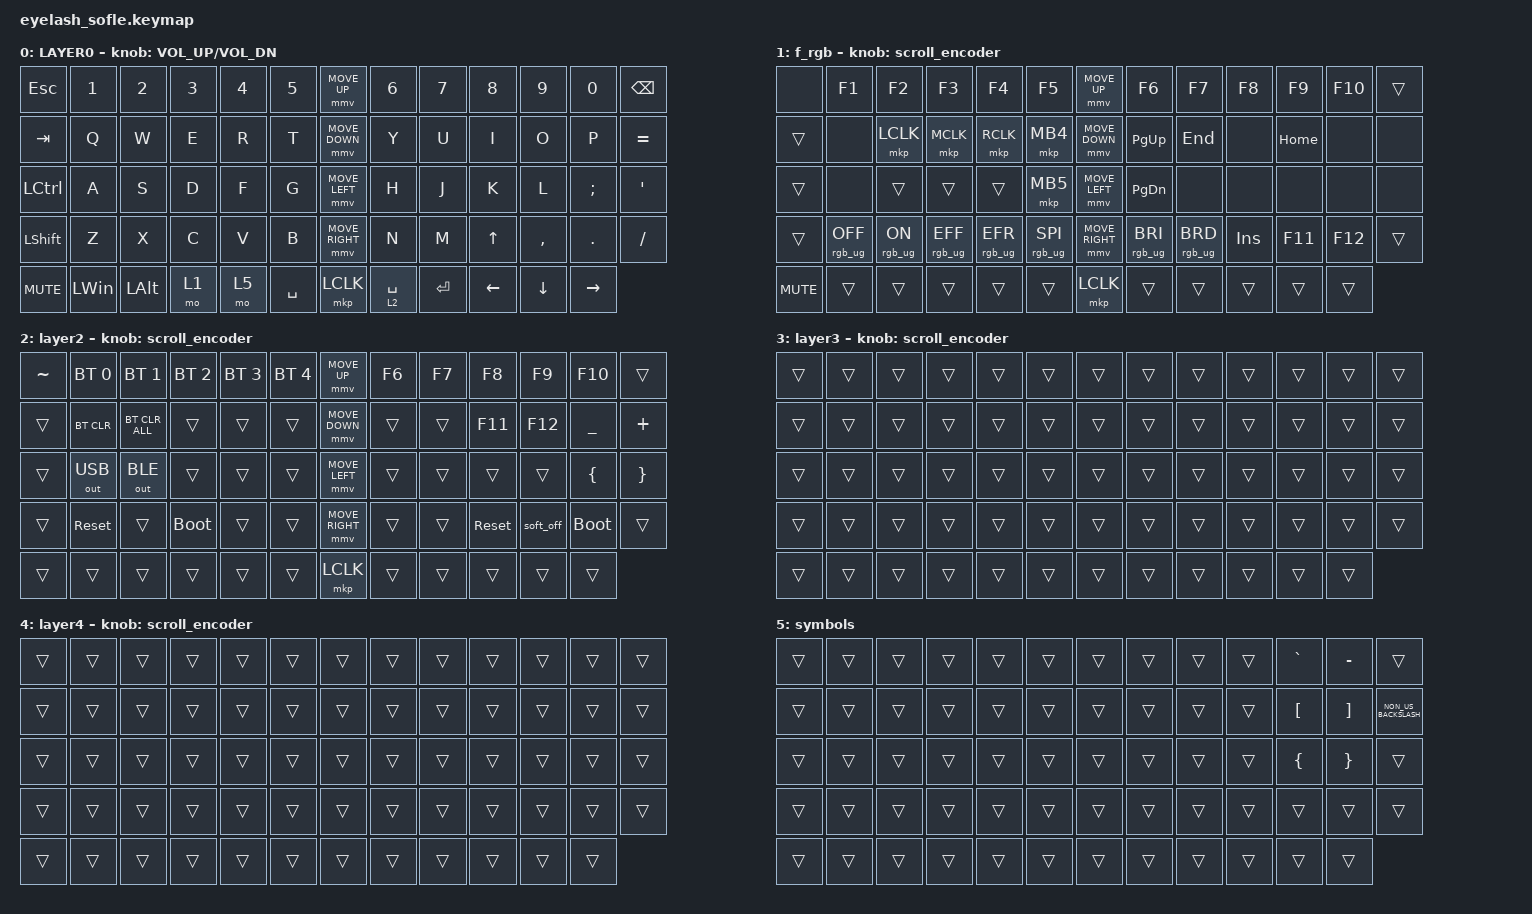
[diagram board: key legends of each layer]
#define ZMK_POINTING_DEFAULT_MOVE_VAL 1200  // 600
#define ZMK_POINTING_DEFAULT_SCRL_VAL 25   // 10

#include <input/processors.dtsi>
#include <zephyr/dt-bindings/input/input-event-codes.h>
#include <behaviors.dtsi>
#include <dt-bindings/zmk/bt.h>
#include <dt-bindings/zmk/keys.h>
#include <dt-bindings/zmk/outputs.h>
#include <dt-bindings/zmk/pointing.h>
#include <dt-bindings/zmk/rgb.h>

&mmv_input_listener { input-processors = <&zip_xy_scaler 2 1>; };

&msc_input_listener { input-processors = <&zip_scroll_scaler 2 1>; };

&msc {
    acceleration-exponent = <1>;      // 0
    time-to-max-speed-ms = <100>;       // 300
    delay-ms = <0>;                   // 0
};

&mmv {
    time-to-max-speed-ms = <500>;
    acceleration-exponent = <1>;
    trigger-period-ms = <16>;
};

&soft_off { hold-time-ms = <2000>; };

&lt {
};

/ {
    scroll_encoder: scroll_encoder {
        compatible = "zmk,behavior-sensor-rotate";
        #sensor-binding-cells = <0>;
        bindings = <&msc SCRL_DOWN>, <&msc SCRL_UP>;

        tap-ms = <100>;
    };

    behaviors {
    };

    combos {
        compatible = "zmk,combos";

        softoff {
            bindings = <&soft_off>;
            key-positions = <14 28 40>;
        };
    };

    keymap {
        compatible = "zmk,keymap";

        layer0 {
            bindings = <
&kp ESC           &kp N1        &kp N2        &kp N3  &kp N4  &kp N5       &mmv MOVE_UP     &kp N6       &kp N7     &kp N8          &kp N9          &kp N0      &kp BACKSPACE
&kp TAB           &kp Q         &kp W         &kp E   &kp R   &kp T        &mmv MOVE_DOWN   &kp Y        &kp U      &kp I           &kp O           &kp P       &kp EQUAL
&kp LEFT_CONTROL  &kp A         &kp S         &kp D   &kp F   &kp G        &mmv MOVE_LEFT   &kp H        &kp J      &kp K           &kp L           &kp SEMI    &kp APOS
&kp LEFT_SHIFT    &kp Z         &kp X         &kp C   &kp V   &kp B        &mmv MOVE_RIGHT  &kp N        &kp M      &kp UP_ARROW    &kp COMMA       &kp PERIOD  &kp SLASH
&kp C_MUTE        &kp LEFT_WIN  &kp LEFT_ALT  &mo 1   &mo 5   &kp SPACE    &mkp LCLK        &lt 2 SPACE  &kp ENTER  &kp LEFT_ARROW  &kp DOWN_ARROW  &kp RIGHT
            >;

            sensor-bindings = <&inc_dec_kp C_VOLUME_UP C_VOL_DN>;
            display-name = "LAYER0";
        };

        f_layer_and_setting {
            bindings = <
&none       &kp F1           &kp F2          &kp F3           &kp F4           &kp F5             &mmv MOVE_UP     &kp F6           &kp F7           &kp F8      &kp F9    &kp F10  &trans
&trans      &none            &mkp LCLK       &mkp MCLK        &mkp RCLK        &mkp MB4           &mmv MOVE_DOWN   &kp PG_UP        &kp END          &none       &kp HOME  &none    &none
&trans      &none            &trans          &trans           &trans           &mkp MB5           &mmv MOVE_LEFT   &kp PG_DN        &none            &none       &none     &none    &none
&trans      &rgb_ug RGB_OFF  &rgb_ug RGB_ON  &rgb_ug RGB_EFF  &rgb_ug RGB_EFR  &rgb_ug RGB_SPI    &mmv MOVE_RIGHT  &rgb_ug RGB_BRI  &rgb_ug RGB_BRD  &kp INSERT  &kp F11   &kp F12  &trans
&kp C_MUTE  &trans           &trans          &trans           &trans           &trans             &mkp LCLK        &trans           &trans           &trans      &trans    &trans
            >;

            display-name = "f_rgb";
            sensor-bindings = <&scroll_encoder>;
        };

        bt {
            bindings = <
&kp TILDE  &bt BT_SEL 0  &bt BT_SEL 1    &bt BT_SEL 2  &bt BT_SEL 3  &bt BT_SEL 4    &mmv MOVE_UP     &kp F6  &kp F7  &kp F8      &kp F9     &kp F10      &trans
&trans     &bt BT_CLR    &bt BT_CLR_ALL  &trans        &trans        &trans          &mmv MOVE_DOWN   &trans  &trans  &kp F11     &kp F12    &kp UNDER    &kp PLUS
&trans     &out OUT_USB  &out OUT_BLE    &trans        &trans        &trans          &mmv MOVE_LEFT   &trans  &trans  &trans      &trans     &kp LBRC     &kp RBRC
&trans     &sys_reset    &trans          &bootloader   &trans        &trans          &mmv MOVE_RIGHT  &trans  &trans  &sys_reset  &soft_off  &bootloader  &trans
&trans     &trans        &trans          &trans        &trans        &trans          &mkp LCLK        &trans  &trans  &trans      &trans     &trans
            >;

            display-name = "layer2";
            sensor-bindings = <&scroll_encoder>;
        };

        layer_3 {
            bindings = <
&trans  &trans  &trans  &trans  &trans  &trans    &trans  &trans  &trans  &trans  &trans  &trans  &trans
&trans  &trans  &trans  &trans  &trans  &trans    &trans  &trans  &trans  &trans  &trans  &trans  &trans
&trans  &trans  &trans  &trans  &trans  &trans    &trans  &trans  &trans  &trans  &trans  &trans  &trans
&trans  &trans  &trans  &trans  &trans  &trans    &trans  &trans  &trans  &trans  &trans  &trans  &trans
&trans  &trans  &trans  &trans  &trans  &trans    &trans  &trans  &trans  &trans  &trans  &trans
            >;

            display-name = "layer3";
            sensor-bindings = <&scroll_encoder>;
        };

        layer_4 {
            bindings = <
&trans  &trans  &trans  &trans  &trans  &trans    &trans  &trans  &trans  &trans  &trans  &trans  &trans
&trans  &trans  &trans  &trans  &trans  &trans    &trans  &trans  &trans  &trans  &trans  &trans  &trans
&trans  &trans  &trans  &trans  &trans  &trans    &trans  &trans  &trans  &trans  &trans  &trans  &trans
&trans  &trans  &trans  &trans  &trans  &trans    &trans  &trans  &trans  &trans  &trans  &trans  &trans
&trans  &trans  &trans  &trans  &trans  &trans    &trans  &trans  &trans  &trans  &trans  &trans
            >;

            display-name = "layer4";
            sensor-bindings = <&scroll_encoder>;
        };

        symbols {
            bindings = <
&trans  &trans  &trans  &trans  &trans  &trans    &trans  &trans  &trans  &trans  &kp GRAVE         &kp MINUS          &trans
&trans  &trans  &trans  &trans  &trans  &trans    &trans  &trans  &trans  &trans  &kp LEFT_BRACKET  &kp RIGHT_BRACKET  &kp NON_US_BACKSLASH
&trans  &trans  &trans  &trans  &trans  &trans    &trans  &trans  &trans  &trans  &kp LEFT_BRACE    &kp RIGHT_BRACE    &trans
&trans  &trans  &trans  &trans  &trans  &trans    &trans  &trans  &trans  &trans  &trans            &trans             &trans
&trans  &trans  &trans  &trans  &trans  &trans    &trans  &trans  &trans  &trans  &trans            &trans
            >;
        };
    };
};
